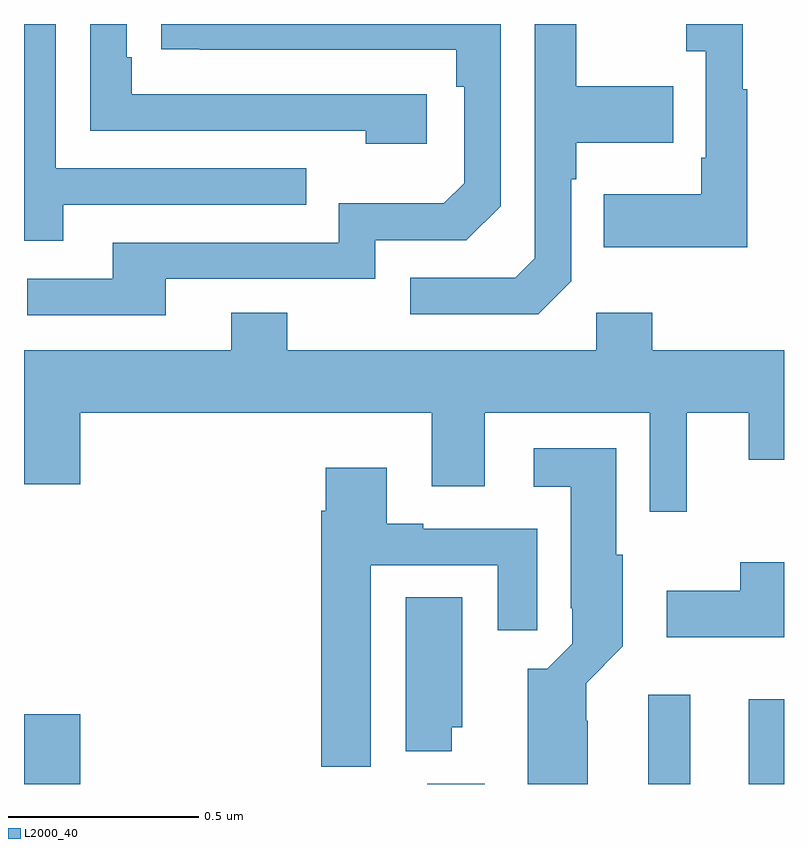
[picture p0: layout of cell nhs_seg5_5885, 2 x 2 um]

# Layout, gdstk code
import gdstk
lib = gdstk.Library(unit=1e-6, precision=1e-09)
def R(c, l, rs):  # rectangles x0, y0, x1, y1
    for r in rs: c.add(gdstk.rectangle(r[:2], r[2:], *l))
def P(c, l, *ps):  # polygons
    for p in ps: c.add(gdstk.Polygon(p, *l))
L2000_40 = (2000, 40)

nhs_seg5_5885 = lib.new_cell('nhs_seg5_5885')
R(nhs_seg5_5885, L2000_40, [(189,839.799,189.148,839.983), (190.061,839.799,190.213,839.8), (190.643,839.799,190.753,840.034), (190.907,839.799,191,840.022)])
P(nhs_seg5_5885, L2000_40, [(190.44,841.122),(190.44,841.391),(190.453,841.391),(190.453,841.487),(190.709,841.487),(190.709,841.635),(190.453,841.635),(190.453,841.799),(190.344,841.799),(190.344,841.182),(190.293,841.131),(190.017,841.131),(190.017,841.035),(190.353,841.035)],
  [(190.06,841.614),(189.283,841.614),(189.283,841.711),(189.27,841.711),(189.27,841.799),(189.174,841.799),(189.174,841.518),(189.899,841.518),(189.899,841.484),(190.06,841.484)],
  [(189.373,841.128),(189.924,841.128),(189.924,841.23),(190.164,841.23),(190.254,841.32),(190.254,841.799),(189.361,841.799),(189.361,841.732),(189.463,841.732),(189.463,841.731),(190.138,841.731),(190.138,841.634),(190.158,841.634),(190.158,841.38),(190.105,841.327),(189.828,841.327),(189.828,841.224),(189.233,841.224),(189.233,841.128),(189.009,841.128),(189.009,841.032),(189.373,841.032)],
  [(189.103,841.323),(189.743,841.323),(189.743,841.419),(189.084,841.419),(189.084,841.799),(189,841.799),(189,841.229),(189.103,841.229)],
  [(190.903,841.627),(190.891,841.627),(190.891,841.799),(190.743,841.799),(190.743,841.727),(190.794,841.727),(190.794,841.447),(190.782,841.447),(190.782,841.351),(190.525,841.351),(190.525,841.211),(190.903,841.211)],
  [(190.744,840.776),(190.907,840.776),(190.907,840.652),(191,840.652),(191,840.94),(190.653,840.94),(190.653,841.039),(190.506,841.039),(190.506,840.94),(189.693,840.94),(189.693,841.039),(189.545,841.039),(189.545,840.94),(189,840.94),(189,840.588),(189.148,840.588),(189.148,840.776),(190.073,840.776),(190.073,840.582),(190.213,840.582),(190.213,840.776),(190.647,840.776),(190.647,840.516),(190.744,840.516)],
  [(190.483,839.966),(190.479,839.966),(190.479,840.064),(190.576,840.161),(190.576,840.402),(190.558,840.402),(190.558,840.682),(190.341,840.682),(190.341,840.581),(190.439,840.581),(190.439,840.262),(190.443,840.262),(190.443,840.168),(190.377,840.102),(190.325,840.102),(190.325,839.799),(190.483,839.799)],
  [(189.913,840.375),(190.247,840.375),(190.247,840.204),(190.351,840.204),(190.351,840.471),(190.051,840.471),(190.051,840.484),(189.955,840.484),(189.955,840.631),(189.794,840.631),(189.794,840.518),(189.782,840.518),(189.782,839.844),(189.913,839.844)],
  [(191,840.382),(190.885,840.382),(190.885,840.307),(190.692,840.307),(190.692,840.185),(191,840.185)],
  [(190.126,839.949),(190.153,839.949),(190.153,840.29),(190.004,840.29),(190.004,839.885),(190.126,839.885)])

lib.write_gds('nhs_seg5_5885.gds')
